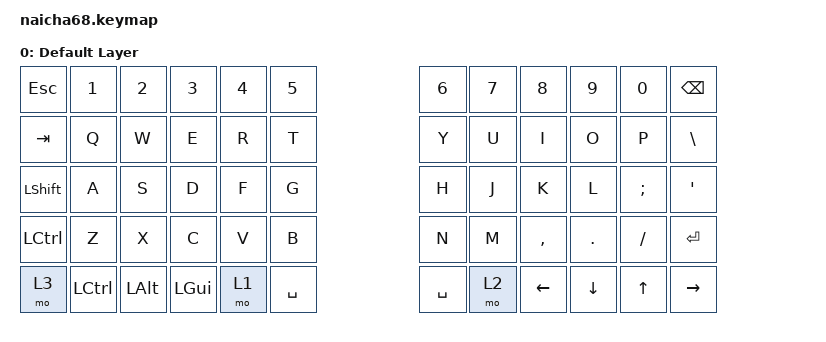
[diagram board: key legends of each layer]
#include <behaviors.dtsi>
#include <dt-bindings/zmk/keys.h>
#include <dt-bindings/zmk/bt.h>
#include <dt-bindings/zmk/outputs.h>

/ {
    keymap {
        compatible = "zmk,keymap";

        default_layer {
            display-name = "Default Layer";
            // ----------------------------------------------------------------------------------------------------------
            // |  ESC  |  1   |  2   |  3   |  4   |  5   |-------|-------|   6   |  7    |  8   |  9   |   0   | BSPC  |
            // |  TAB  |  Q   |  W   |  E   |  R   |  T   |-------|-------|   Y   |  U    |  I   |  O   |   P   |  \    |
            // | SHIFT |  A   |  S   |  D   |  F   |  G   |-------|-------|   H   |  J    |  K   |  L   |   ;   |  '    |
            // | CTRL  |  Z   |  X   |  C   |  V   |  B   |-------|-------|   N   |  M    |  ,   |  .   |   /   | ENTER |
            // |-------|ADJUST| LCTL | LALT | LGUI | LOWR | SPACE | SPACE |  RAIS | LEFT | DOWN | UARW  | RARW  |-------|


            bindings = <
                &kp ESC    &kp N1 &kp N2    &kp N3   &kp N4   &kp N5                    &kp N6 &kp N7   &kp N8    &kp N9  &kp N0    &kp BSPC
                &kp TAB    &kp Q  &kp W     &kp E    &kp R    &kp T                     &kp Y  &kp U    &kp I     &kp O   &kp P     &kp BSLH
                &kp LSHFT  &kp A  &kp S     &kp D    &kp F    &kp G                     &kp H  &kp J    &kp K     &kp L   &kp SEMI  &kp SQT
                &kp LCTRL  &kp Z  &kp X     &kp C    &kp V    &kp B                     &kp N  &kp M    &kp COMMA &kp DOT &kp FSLH  &kp RET
                           &mo 3  &kp LCTRL &kp LALT &kp LGUI &mo 1 &kp SPACE &kp SPACE &mo 2  &kp LEFT &kp DOWN  &kp UP  &kp RIGHT
            >;
        };
    };
};
